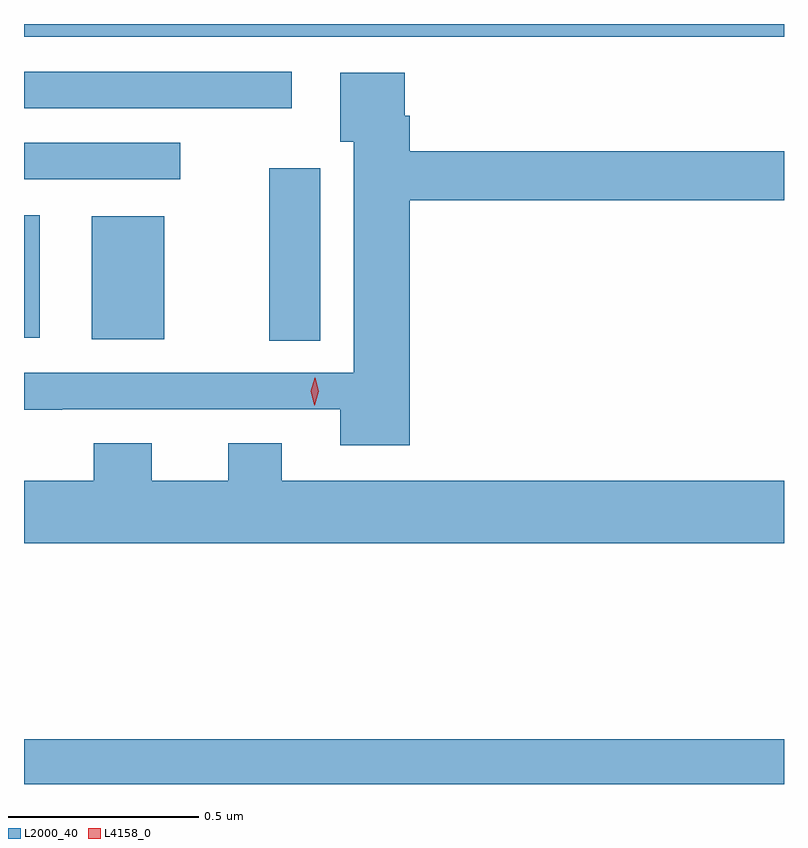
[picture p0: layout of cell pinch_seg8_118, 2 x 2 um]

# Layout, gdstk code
import gdstk
lib = gdstk.Library(unit=1e-6, precision=1e-09)
def R(c, l, rs):  # rectangles x0, y0, x1, y1
    for r in rs: c.add(gdstk.rectangle(r[:2], r[2:], *l))
def P(c, l, *ps):  # polygons
    for p in ps: c.add(gdstk.Polygon(p, *l))
L2000_40 = (2000, 40)
L4158_0 = (4158, 0)

pinch_seg8_118 = lib.new_cell('pinch_seg8_118')
R(pinch_seg8_118, L2000_40, [(1049.374,1097.218,1051.374,1097.336), (1050.02,1098.385,1050.154,1098.838), (1049.552,1098.389,1049.743,1098.712), (1049.374,1098.392,1049.416,1098.715), (1049.374,1098.81,1049.785,1098.906), (1049.374,1098.996,1050.079,1099.092), (1049.374,1099.184,1051.374,1099.218)])
P(pinch_seg8_118, L2000_40, [(1050.389,1098.754),(1051.374,1098.754),(1051.374,1098.883),(1050.389,1098.883),(1050.389,1098.977),(1050.376,1098.977),(1050.376,1099.09),(1050.206,1099.09),(1050.206,1098.908),(1050.242,1098.908),(1050.242,1098.3),(1049.374,1098.3),(1049.374,1098.203),(1049.474,1098.203),(1049.474,1098.204),(1050.206,1098.204),(1050.206,1098.11),(1050.389,1098.11)],
  [(1051.374,1098.016),(1050.052,1098.016),(1050.052,1098.115),(1049.912,1098.115),(1049.912,1098.016),(1049.71,1098.016),(1049.71,1098.115),(1049.558,1098.115),(1049.558,1098.016),(1049.374,1098.016),(1049.374,1097.852),(1051.374,1097.852)])
P(pinch_seg8_118, L4158_0, [(1050.138,1098.215),(1050.129,1098.251),(1050.139,1098.287),(1050.139,1098.287),(1050.14,1098.287),(1050.149,1098.251),(1050.139,1098.215),(1050.139,1098.215)])

lib.write_gds('pinch_seg8_118.gds')
